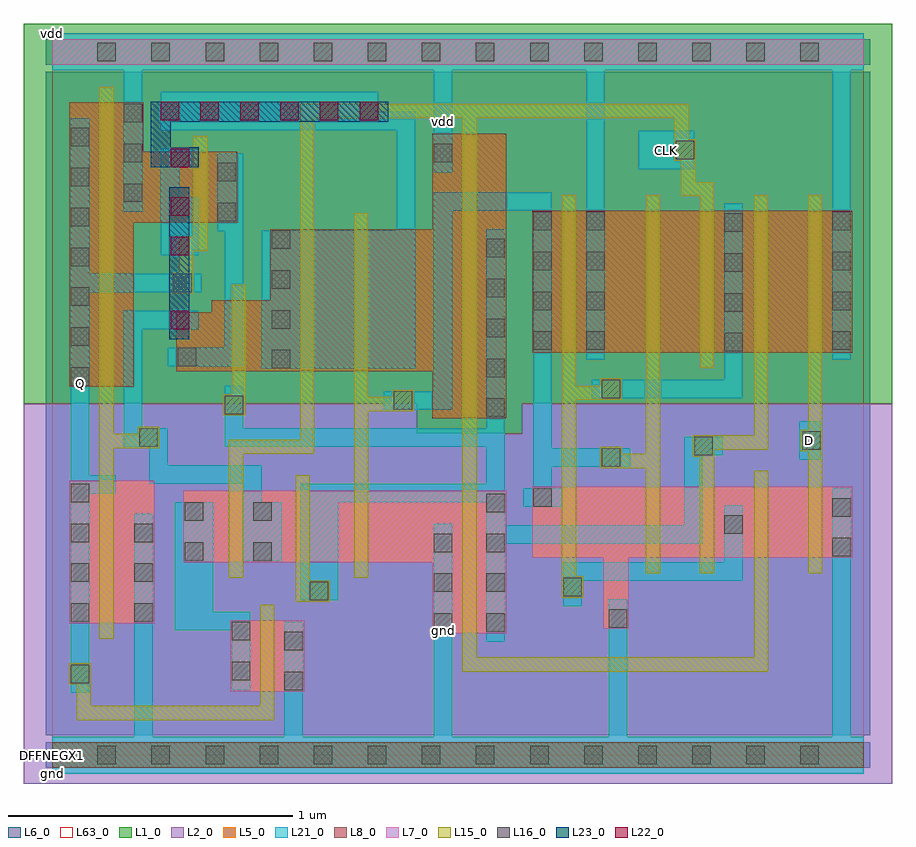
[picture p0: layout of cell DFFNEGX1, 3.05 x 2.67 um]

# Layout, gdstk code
import gdstk
lib = gdstk.Library(unit=1e-6, precision=1e-09)
def R(c, l, rs):  # rectangles x0, y0, x1, y1
    for r in rs: c.add(gdstk.rectangle(r[:2], r[2:], *l))
def A(c, l, x, y, w, h, nx, ny, dx, dy):  # array of equal rectangles
    R(c, l, [(x+i*dx, y+j*dy, x+i*dx+w, y+j*dy+h) for i in range(nx) for j in range(ny)])
def P(c, l, *ps):  # polygons
    for p in ps: c.add(gdstk.Polygon(p, *l))
L1_0 = (1, 0)
L2_0 = (2, 0)
L5_0 = (5, 0)
L6_0 = (6, 0)
L7_0 = (7, 0)
L8_0 = (8, 0)
L15_0 = (15, 0)
L16_0 = (16, 0)
L21_0 = (21, 0)
L22_0 = (22, 0)
L23_0 = (23, 0)
L63_0 = (63, 0)

dffnegx1 = lib.new_cell('DFFNEGX1')
P(dffnegx1, L1_0, [(2.95,1.235),(1.65,1.235),(1.65,1.128),(1.28,1.128),(1.28,1.235),(-0.1,1.235),(-0.1,2.57),(2.95,2.57)])
P(dffnegx1, L2_0, [(-0.1,1.235),(1.28,1.235),(1.28,1.128),(1.65,1.128),(1.65,1.235),(2.95,1.235),(2.95,-0.1),(-0.1,-0.1)])
A(dffnegx1, L5_0, 2.085, 0.693, 0.05, 0.25, 4, 1, 0.19, 0)
A(dffnegx1, L5_0, 2.135, 0.693, 0.14, 0.25, 3, 1, 0.19, 0)
A(dffnegx1, L5_0, 2.085, 1.413, 0.05, 0.5, 4, 1, 0.19, 0)
A(dffnegx1, L5_0, 2.135, 1.413, 0.14, 0.5, 3, 1, 0.19, 0)
R(dffnegx1, L5_0, [(0,-0.045,2.85,0.045), (0.625,0.223,0.73,0.473), (0.73,0.223,0.78,0.473), (0.78,0.223,0.885,0.473), (1.44,0.428,1.49,0.928), (1.49,0.428,1.595,0.928), (0.06,0.463,0.165,0.963), (0.165,0.463,0.215,0.963), (0.215,0.463,0.358,0.963), (0.46,0.678,0.62,0.928), (0.62,0.678,0.67,0.928), (0.67,0.678,0.855,0.928), (0.855,0.678,0.905,0.928), (0.905,0.678,1.06,0.928), (1.06,0.678,1.11,0.928), (1.685,0.693,1.79,0.943), (1.79,0.693,1.84,0.943), (2.705,0.693,2.81,0.943), (1.44,1.183,1.49,2.183), (1.49,1.183,1.595,2.183), (0.06,1.293,0.165,2.293), (0.165,1.293,0.215,2.293), (0.63,1.348,0.68,1.598), (0.87,1.348,0.92,1.848), (0.92,1.348,1.06,1.848), (1.06,1.348,1.11,1.848), (1.685,1.413,1.79,1.913), (1.79,1.413,1.84,1.913), (1.84,1.413,2.085,1.913), (2.705,1.413,2.81,1.913), (0.495,1.87,0.545,2.12), (0.545,1.87,0.65,2.12), (0,2.425,2.85,2.515)])
P(dffnegx1, L5_0, [(1.44,0.928),(1.44,0.428),(1.335,0.428),(1.335,0.678),(1.11,0.678),(1.11,0.928)],
  [(1.84,0.693),(1.84,0.943),(2.085,0.943),(2.085,0.693),(2.025,0.693),(2.025,0.443),(1.935,0.443),(1.935,0.693)],
  [(0.32,2.12),(0.495,2.12),(0.495,1.87),(0.285,1.87),(0.285,1.293),(0.215,1.293),(0.215,2.293),(0.32,2.293)],
  [(0.87,1.848),(0.87,1.348),(0.68,1.348),(0.68,1.598),(0.765,1.598),(0.765,1.848)],
  [(0.435,1.348),(0.435,1.555),(0.56,1.555),(0.56,1.598),(0.63,1.598),(0.63,1.348)],
  [(1.44,2.183),(1.44,1.183),(1.335,1.183),(1.335,1.348),(1.11,1.348),(1.11,1.848),(1.335,1.848),(1.335,2.183)])
R(dffnegx1, L6_0, [(-0.023,-0.045,2.873,0.045), (-0.023,-0.045,2.873,0.045), (-0.023,2.425,2.873,2.515), (-0.023,2.425,2.873,2.515)])
P(dffnegx1, L6_0, [(1.28,1.235),(1.28,1.128),(1.65,1.128),(1.65,1.235),(2.873,1.235),(2.873,0.07),(-0.023,0.07),(-0.023,1.235)],
  [(-0.023,1.235),(-0.023,2.4),(2.873,2.4),(2.873,1.235),(1.65,1.235),(1.65,1.128),(1.28,1.128),(1.28,1.235)])
A(dffnegx1, L7_0, 2.085, 0.693, 0.05, 0.25, 4, 1, 0.19, 0)
A(dffnegx1, L7_0, 2.135, 0.693, 0.14, 0.25, 3, 1, 0.19, 0)
R(dffnegx1, L7_0, [(0.625,0.223,0.73,0.473), (0.73,0.223,0.78,0.473), (0.78,0.223,0.885,0.473), (1.44,0.428,1.49,0.928), (1.49,0.428,1.595,0.928), (0.06,0.463,0.165,0.963), (0.165,0.463,0.215,0.963), (0.215,0.463,0.358,0.963), (0.46,0.678,0.62,0.928), (0.62,0.678,0.67,0.928), (0.67,0.678,0.855,0.928), (0.855,0.678,0.905,0.928), (0.905,0.678,1.06,0.928), (1.06,0.678,1.11,0.928), (1.685,0.693,1.79,0.943), (1.79,0.693,1.84,0.943), (2.705,0.693,2.81,0.943), (0,2.425,2.85,2.515)])
P(dffnegx1, L7_0, [(1.44,0.928),(1.44,0.428),(1.335,0.428),(1.335,0.678),(1.11,0.678),(1.11,0.928)],
  [(1.84,0.693),(1.84,0.943),(2.085,0.943),(2.085,0.693),(2.025,0.693),(2.025,0.443),(1.935,0.443),(1.935,0.693)])
A(dffnegx1, L8_0, 2.085, 1.413, 0.05, 0.5, 4, 1, 0.19, 0)
A(dffnegx1, L8_0, 2.135, 1.413, 0.14, 0.5, 3, 1, 0.19, 0)
R(dffnegx1, L8_0, [(0,-0.045,2.85,0.045), (1.44,1.183,1.49,2.183), (1.49,1.183,1.595,2.183), (0.06,1.293,0.165,2.293), (0.165,1.293,0.215,2.293), (0.63,1.348,0.68,1.598), (0.87,1.348,0.92,1.848), (0.92,1.348,1.06,1.848), (1.06,1.348,1.11,1.848), (1.685,1.413,1.79,1.913), (1.79,1.413,1.84,1.913), (1.84,1.413,2.085,1.913), (2.705,1.413,2.81,1.913), (0.495,1.87,0.545,2.12), (0.545,1.87,0.65,2.12)])
P(dffnegx1, L8_0, [(0.32,2.12),(0.495,2.12),(0.495,1.87),(0.285,1.87),(0.285,1.293),(0.215,1.293),(0.215,2.293),(0.32,2.293)],
  [(0.87,1.848),(0.87,1.348),(0.68,1.348),(0.68,1.598),(0.765,1.598),(0.765,1.848)],
  [(0.435,1.348),(0.435,1.555),(0.56,1.555),(0.56,1.598),(0.63,1.598),(0.63,1.348)],
  [(1.44,2.183),(1.44,1.183),(1.335,1.183),(1.335,1.348),(1.11,1.348),(1.11,1.848),(1.335,1.848),(1.335,2.183)])
A(dffnegx1, L15_0, 2.085, 0.693, 0.05, 0.25, 4, 1, 0.19, 0)
A(dffnegx1, L15_0, 2.085, 1.413, 0.05, 0.5, 4, 1, 0.19, 0)
R(dffnegx1, L15_0, [(0.73,0.223,0.78,0.473), (0.165,0.408,0.215,0.463), (1.44,0.428,1.49,0.928), (0.165,0.463,0.215,0.963), (0.73,0.473,0.78,0.528), (0.62,0.623,0.67,0.678), (1.06,0.623,1.11,0.678), (2.085,0.638,2.135,0.693), (2.275,0.638,2.325,0.693), (2.655,0.638,2.705,0.693), (0.62,0.678,0.67,0.928), (0.855,0.678,0.905,0.928), (1.06,0.678,1.11,0.928), (1.79,0.693,1.84,0.943), (0.855,0.928,0.905,0.983), (1.44,0.928,1.49,1.183), (2.465,0.943,2.515,0.998), (1.44,1.183,1.49,2.183), (0.165,1.293,0.215,2.293), (0.63,1.348,0.68,1.598), (0.87,1.348,0.92,1.848), (1.06,1.348,1.11,1.848), (2.275,1.358,2.325,1.413), (1.79,1.413,1.84,1.913), (0.63,1.598,0.68,1.653), (1.06,1.848,1.11,1.903), (0.495,1.87,0.545,2.12), (1.79,1.913,1.84,1.968), (2.085,1.913,2.135,1.968), (2.465,1.913,2.515,1.968), (2.655,1.913,2.705,1.968), (0.495,2.12,0.545,2.175), (0.165,2.293,0.215,2.348)])
P(dffnegx1, L15_0, [(0.165,1.293),(0.215,1.293),(0.215,1.128),(0.3,1.128),(0.3,1.153),(0.375,1.153),(0.375,1.078),(0.215,1.078),(0.215,0.963),(0.165,0.963)],
  [(0.62,1.108),(0.87,1.108),(0.87,1.348),(0.92,1.348),(0.92,1.058),(0.67,1.058),(0.67,0.928),(0.62,0.928)],
  [(0.73,0.173),(0.73,0.223),(0.78,0.223),(0.78,0.123),(0.085,0.123),(0.085,0.248),(0.06,0.248),(0.06,0.323),(0.135,0.323),(0.135,0.173)],
  [(0.63,1.268),(0.63,1.348),(0.68,1.348),(0.68,1.193),(0.6,1.193),(0.6,1.268)],
  [(0.495,1.82),(0.495,1.87),(0.545,1.87),(0.545,1.77),(0.495,1.77),(0.495,1.62),(0.42,1.62),(0.42,1.695),(0.445,1.695),(0.445,1.82)],
  [(0.905,0.613),(0.975,0.613),(0.975,0.538),(0.855,0.538),(0.855,0.678),(0.905,0.678)],
  [(0.87,2.288),(2.235,2.288),(2.235,2.163),(2.26,2.163),(2.26,2.013),(2.325,2.013),(2.325,1.913),(2.275,1.913),(2.275,1.963),(2.21,1.963),(2.21,2.088),(2.185,2.088),(2.185,2.238),(1.49,2.238),(1.49,2.183),(1.44,2.183),(1.44,2.238),(0.92,2.238),(0.92,1.848),(0.87,1.848)],
  [(1.06,1.348),(1.11,1.348),(1.11,1.258),(1.195,1.258),(1.195,1.283),(1.27,1.283),(1.27,1.208),(1.11,1.208),(1.11,0.928),(1.06,0.928)],
  [(1.49,0.343),(2.465,0.343),(2.465,0.693),(2.515,0.693),(2.515,0.293),(1.44,0.293),(1.44,0.428),(1.49,0.428)],
  [(1.79,1.413),(1.84,1.413),(1.84,1.298),(1.925,1.298),(1.925,1.323),(2,1.323),(2,1.248),(1.84,1.248),(1.84,0.943),(1.79,0.943)],
  [(1.84,0.628),(1.865,0.628),(1.865,0.553),(1.79,0.553),(1.79,0.693),(1.84,0.693)],
  [(2.085,1.008),(1.925,1.008),(1.925,1.083),(2,1.083),(2,1.058),(2.085,1.058),(2.085,1.413),(2.135,1.413),(2.135,0.943),(2.085,0.943)],
  [(2.275,1.048),(2.25,1.048),(2.25,1.123),(2.465,1.123),(2.465,1.413),(2.515,1.413),(2.515,1.073),(2.325,1.073),(2.325,0.943),(2.275,0.943)],
  [(2.655,1.068),(2.63,1.068),(2.63,1.143),(2.655,1.143),(2.655,1.413),(2.705,1.413),(2.705,0.943),(2.655,0.943)])
A(dffnegx1, L16_0, 0.158, -0.033, 0.065, 0.066, 14, 1, 0.19, 0)
A(dffnegx1, L16_0, 1.34, 0.433, 0.065, 0.065, 1, 3, 0, 0.14)
A(dffnegx1, L16_0, 1.525, 0.433, 0.065, 0.065, 1, 4, 0, 0.14)
A(dffnegx1, L16_0, 0.065, 0.468, 0.065, 0.065, 1, 4, 0, 0.14)
A(dffnegx1, L16_0, 0.288, 0.468, 0.065, 0.065, 1, 3, 0, 0.14)
A(dffnegx1, L16_0, 1.525, 1.188, 0.065, 0.065, 1, 5, 0, 0.14)
A(dffnegx1, L16_0, 0.065, 1.298, 0.065, 0.065, 1, 7, 0, 0.14)
A(dffnegx1, L16_0, 0.77, 1.358, 0.065, 0.065, 1, 4, 0, 0.14)
A(dffnegx1, L16_0, 2.36, 1.418, 0.065, 0.065, 1, 4, 0, 0.14)
A(dffnegx1, L16_0, 1.69, 1.423, 0.065, 0.065, 1, 4, 0, 0.14)
A(dffnegx1, L16_0, 1.875, 1.423, 0.065, 0.065, 1, 4, 0, 0.14)
A(dffnegx1, L16_0, 2.74, 1.423, 0.065, 0.065, 1, 4, 0, 0.14)
A(dffnegx1, L16_0, 0.158, 2.438, 0.065, 0.065, 14, 1, 0.19, 0)
R(dffnegx1, L16_0, [(0.815,0.228,0.88,0.293), (0.065,0.253,0.13,0.318), (0.63,0.263,0.695,0.328), (0.815,0.368,0.88,0.433), (0.63,0.403,0.695,0.468), (1.955,0.448,2.02,0.513), (0.905,0.543,0.97,0.608), (1.795,0.558,1.86,0.623), (0.465,0.683,0.53,0.748), (0.705,0.683,0.77,0.748), (2.74,0.698,2.805,0.763), (2.36,0.778,2.425,0.843), (0.465,0.823,0.53,0.888), (0.705,0.823,0.77,0.888), (2.74,0.838,2.805,0.903), (1.69,0.873,1.755,0.938), (1.93,1.012,1.995,1.078), (2.255,1.053,2.32,1.118), (2.635,1.073,2.7,1.138), (0.305,1.083,0.37,1.148), (0.605,1.198,0.67,1.263), (1.2,1.213,1.265,1.278), (1.93,1.253,1.995,1.318), (0.44,1.365,0.505,1.43), (0.425,1.625,0.49,1.69), (0.58,1.875,0.645,1.94), (0.25,1.943,0.315,2.007), (0.58,2.015,0.645,2.08), (0.25,2.083,0.315,2.148), (1.34,2.083,1.405,2.148), (2.19,2.093,2.255,2.158), (0.25,2.223,0.315,2.288)])
R(dffnegx1, L21_0, [(2.623,1.038,2.7,1.173), (2.058,2.058,2.255,2.193)])
P(dffnegx1, L21_0, [(0,2.405),(0,2.535),(2.85,2.535),(2.85,2.405),(2.805,2.405),(2.805,1.388),(2.74,1.388),(2.74,2.405),(1.94,2.405),(1.94,1.388),(1.875,1.388),(1.875,2.405),(1.405,2.405),(1.405,2.047),(1.34,2.047),(1.34,2.405),(0.315,2.405),(0.315,1.908),(0.25,1.908),(0.25,2.405)],
  [(0,-0.065),(0,0.065),(0.288,0.065),(0.288,0.848),(0.353,0.848),(0.353,0.065),(0.815,0.065),(0.815,0.468),(0.88,0.468),(0.88,0.065),(1.34,0.065),(1.34,0.813),(1.405,0.813),(1.405,0.065),(1.955,0.065),(1.955,0.548),(2.02,0.548),(2.02,0.065),(2.74,0.065),(2.74,0.938),(2.805,0.938),(2.805,0.065),(2.85,0.065),(2.85,-0.065)],
  [(1.59,0.808),(2.22,0.808),(2.22,1.118),(2.355,1.118),(2.355,1.053),(2.285,1.053),(2.285,0.743),(1.59,0.743),(1.59,0.398),(1.525,0.398),(1.525,0.888),(1.005,0.888),(1.005,0.543),(0.87,0.543),(0.87,0.953),(1.525,0.953),(1.525,1.083),(0.605,1.083),(0.605,1.298),(0.67,1.298),(0.67,1.148),(1.525,1.148),(1.525,1.848),(1.59,1.848)],
  [(2.36,0.678),(2.36,0.878),(2.425,0.878),(2.425,0.613),(1.86,0.613),(1.86,0.523),(1.795,0.523),(1.795,0.678)],
  [(2.36,1.318),(2.36,1.938),(2.425,1.938),(2.425,1.253),(1.895,1.253),(1.895,1.318)],
  [(1.755,1.078),(2.03,1.078),(2.03,1.012),(1.755,1.012),(1.755,0.938),(1.79,0.938),(1.79,0.873),(1.655,0.873),(1.655,0.938),(1.69,0.938),(1.69,1.913),(1.405,1.913),(1.405,1.213),(1.165,1.213),(1.165,1.278),(1.34,1.278),(1.34,1.978),(1.755,1.978)],
  [(1.145,2.26),(1.275,2.26),(1.275,1.358),(0.735,1.358),(0.735,1.843),(1.21,1.843),(1.21,2.195),(0.38,2.195),(0.38,2.33),(1.145,2.33)],
  [(0.445,2.065),(0.445,1.96),(0.515,1.96),(0.515,1.755),(0.38,1.755),(0.38,2.13),(0.515,2.13),(0.515,2.065)],
  [(0.25,1.56),(0.515,1.56),(0.515,1.495),(0.315,1.495),(0.315,1.148),(0.405,1.148),(0.405,1.018),(0.735,1.018),(0.735,0.888),(0.805,0.888),(0.805,0.683),(0.67,0.683),(0.67,0.953),(0.34,0.953),(0.34,1.083),(0.25,1.083)],
  [(0.405,1.365),(0.405,1.43),(0.605,1.43),(0.605,1.84),(0.58,1.84),(0.58,2.115),(0.67,2.115),(0.67,1.365)],
  [(0.13,1.69),(0.525,1.69),(0.525,1.625),(0.13,1.625),(0.13,0.983),(0.223,0.983),(0.223,0.918),(0.13,0.918),(0.13,0.218),(0.065,0.218),(0.065,2.238),(0.13,2.238)],
  [(0.43,0.438),(0.43,0.888),(0.565,0.888),(0.565,0.503),(0.695,0.503),(0.695,0.228),(0.63,0.228),(0.63,0.438)])
A(dffnegx1, L22_0, 0.38, 2.23, 0.065, 0.065, 6, 1, 0.14, 0)
R(dffnegx1, L22_0, [(0.415,1.495,0.48,1.56), (0.415,1.755,0.48,1.82), (0.415,1.895,0.48,1.96), (0.415,2.065,0.48,2.13)])
R(dffnegx1, L23_0, [(0.41,1.46,0.48,1.995)])
P(dffnegx1, L23_0, [(0.415,2.225),(0.415,2.135),(0.515,2.135),(0.515,2.065),(0.345,2.065),(0.345,2.295),(1.18,2.295),(1.18,2.225)])
R(dffnegx1, L63_0, [(0,0,2.85,2.47)])
dffnegx1.add(gdstk.Label('vdd', (1.373,2.226), layer=21, texttype=1))
dffnegx1.add(gdstk.Label('gnd', (1.373,0.439), layer=21, texttype=1))
dffnegx1.add(gdstk.Label('CLK', (2.156,2.125), layer=21, texttype=1))
dffnegx1.add(gdstk.Label('D', (2.661,1.105), layer=21, texttype=1))
dffnegx1.add(gdstk.Label('Q', (0.098,1.304), layer=21, texttype=1))
dffnegx1.add(gdstk.Label('vdd', (0,2.535), layer=21, texttype=2))
dffnegx1.add(gdstk.Label('gnd', (0,-0.065), layer=21, texttype=2))
dffnegx1.add(gdstk.Label('DFFNEGX1', (0,0), layer=63, texttype=1))

lib.write_gds('DFFNEGX1.gds')
